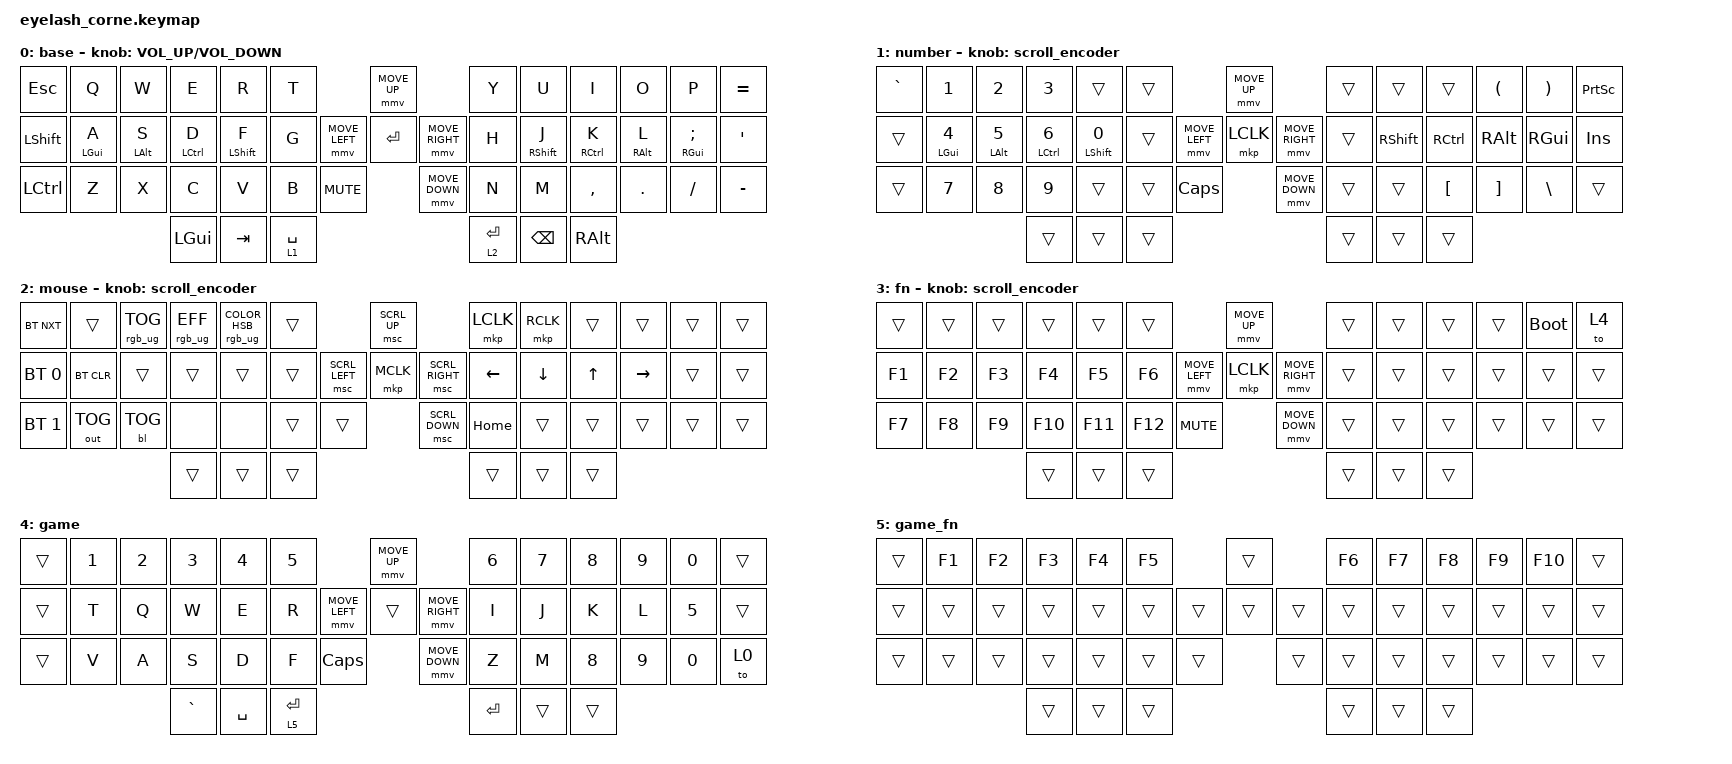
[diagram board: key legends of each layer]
#define ZMK_POINTING_DEFAULT_MOVE_VAL 1200  // 600
#define ZMK_POINTING_DEFAULT_SCRL_VAL 25   // 10

#include <input/processors.dtsi>
#include <zephyr/dt-bindings/input/input-event-codes.h>
#include <behaviors.dtsi>
#include <dt-bindings/zmk/backlight.h>
#include <dt-bindings/zmk/bt.h>
#include <dt-bindings/zmk/keys.h>
#include <dt-bindings/zmk/outputs.h>
#include <dt-bindings/zmk/pointing.h>
#include <dt-bindings/zmk/rgb.h>

&mmv_input_listener { input-processors = <&zip_xy_scaler 2 1>; };

&msc_input_listener { input-processors = <&zip_scroll_scaler 2 1>; };

&msc {
    acceleration-exponent = <1>;      // 0
    time-to-max-speed-ms = <100>;       // 300
    delay-ms = <0>;                   // 0
};

&mmv {
    time-to-max-speed-ms = <500>;
    acceleration-exponent = <1>;
    trigger-period-ms = <16>;
};

&mt {
    tapping-term-ms = <280>;
    require-prior-idle-ms = <175>;
    quick-tap-ms = <175>;
    flavor = "balanced";
    hold-trigger-key-positions = <14 15 16 17 26 25 24 23>;
    hold-trigger-on-release;
};

/ {
    behaviors {
        td0: td0 {
            compatible = "zmk,behavior-tap-dance";
            display-name = "Shift/Caps Lock Tap Dance";
            #binding-cells = <0>;
            bindings = <&kp LEFT_SHIFT>, <&kp CAPS>;
        };
    };

    rgb_encoder: rgb_encoder {
        compatible = "zmk,behavior-sensor-rotate";
        #sensor-binding-cells = <0>;
        bindings = <&rgb_ug RGB_BRI>, <&rgb_ug RGB_BRD>;
    };

    scroll_encoder: scroll_encoder {
        compatible = "zmk,behavior-sensor-rotate";
        #sensor-binding-cells = <0>;
        bindings = <&msc SCRL_DOWN>, <&msc SCRL_UP>;

        tap-ms = <100>;
    };

    combos {
        compatible = "zmk,combos";

        double {
            bindings = <&mo 3>;
            key-positions = <44 45>;
            timeout-ms = <200>;
        };
    };

    keymap {
        compatible = "zmk,keymap";

        base {
            display-name = "base";
            bindings = <
&kp ESCAPE      &kp Q           &kp W           &kp E               &kp R             &kp T                                      &mmv MOVE_UP                     &kp Y        &kp U              &kp I                &kp O            &kp P               &kp EQUAL
&kp LEFT_SHIFT  &mt LEFT_GUI A  &mt LEFT_ALT S  &mt LEFT_CONTROL D  &mt LEFT_SHIFT F  &kp G                      &mmv MOVE_LEFT  &kp ENTER       &mmv MOVE_RIGHT  &kp H        &mt RIGHT_SHIFT J  &mt RIGHT_CONTROL K  &mt RIGHT_ALT L  &mt RIGHT_GUI SEMI  &kp SQT
&kp LCTRL       &kp Z           &kp X           &kp C               &kp V             &kp B        &kp K_MUTE                    &mmv MOVE_DOWN                   &kp N        &kp M              &kp COMMA            &kp DOT          &kp FSLH            &kp MINUS
                                                &kp LGUI            &kp TAB           &lt 1 SPACE                                                                 &lt 2 ENTER  &kp BACKSPACE      &kp RALT
            >;

            sensor-bindings = <&inc_dec_kp C_VOLUME_UP C_VOLUME_DOWN>;
        };

        number {
            display-name = "number";
            bindings = <
&kp GRAVE  &kp NUMBER_1           &kp NUMBER_2           &kp NUMBER_3               &trans                   &trans                                  &mmv MOVE_UP                     &trans  &trans           &trans            &kp LEFT_PARENTHESIS  &kp RIGHT_PARENTHESIS  &kp PRINTSCREEN
&trans     &mt LEFT_GUI NUMBER_4  &mt LEFT_ALT NUMBER_5  &mt LEFT_CONTROL NUMBER_6  &mt LEFT_SHIFT NUMBER_0  &trans                  &mmv MOVE_LEFT  &mkp LCLK       &mmv MOVE_RIGHT  &trans  &kp RIGHT_SHIFT  &kp RCTRL         &kp RIGHT_ALT         &kp RIGHT_GUI          &kp INSERT
&trans     &kp N7                 &kp NUMBER_8           &kp NUMBER_9               &trans                   &trans  &kp CAPSLOCK                    &mmv MOVE_DOWN                   &trans  &trans           &kp LEFT_BRACKET  &kp RIGHT_BRACKET     &kp BACKSLASH          &trans
                                                         &trans                     &trans                   &trans                                                                   &trans  &trans           &trans
            >;

            sensor-bindings = <&scroll_encoder>;
        };

        mouse {
            display-name = "mouse";
            bindings = <
&bt BT_NXT    &trans        &rgb_ug RGB_TOG  &rgb_ug RGB_EFF  &rgb_ug RGB_COLOR_HSB(123,40,47)  &trans                            &msc SCRL_UP                     &mkp LCLK  &mkp RCLK  &trans        &trans     &trans  &trans
&bt BT_SEL 0  &bt BT_CLR    &trans           &trans           &trans                            &trans            &msc SCRL_LEFT  &mkp MCLK       &msc SCRL_RIGHT  &kp LEFT   &kp DOWN   &kp UP_ARROW  &kp RIGHT  &trans  &trans
&bt BT_SEL 1  &out OUT_TOG  &bl BL_TOG       &none            &none                             &trans  &trans                    &msc SCRL_DOWN                   &kp HOME   &trans     &trans        &trans     &trans  &trans
                                             &trans           &trans                            &trans                                                             &trans     &trans     &trans
            >;

            sensor-bindings = <&scroll_encoder>;
        };

        fn {
            display-name = "fn";
            bindings = <
&trans  &trans  &trans  &trans   &trans   &trans                                 &mmv MOVE_UP                     &trans  &trans  &trans  &trans  &bootloader  &to 4
&kp F1  &kp F2  &kp F3  &kp F4   &kp F5   &kp F6                 &mmv MOVE_LEFT  &mkp LCLK       &mmv MOVE_RIGHT  &trans  &trans  &trans  &trans  &trans       &trans
&kp F7  &kp F8  &kp F9  &kp F10  &kp F11  &kp F12  &kp C_MUTE                    &mmv MOVE_DOWN                   &trans  &trans  &trans  &trans  &trans       &trans
                        &trans   &trans   &trans                                                                  &trans  &trans  &trans
            >;

            sensor-bindings = <&scroll_encoder>;
        };

        game {
            bindings = <
&trans  &kp NUMBER_1  &kp NUMBER_2  &kp NUMBER_3  &kp NUMBER_4  &kp NUMBER_5                                  &mmv MOVE_UP                     &kp NUMBER_6  &kp NUMBER_7  &kp NUMBER_8  &kp NUMBER_9  &kp NUMBER_0  &trans
&trans  &kp T         &kp Q         &kp W         &kp E         &kp R                         &mmv MOVE_LEFT  &trans          &mmv MOVE_RIGHT  &kp I         &kp J         &kp K         &kp L         &kp N5        &trans
&trans  &kp V         &kp A         &kp S         &kp D         &kp F         &kp CAPSLOCK                    &mmv MOVE_DOWN                   &kp Z         &kp M         &kp N8        &kp N9        &kp N0        &to 0
                                    &kp GRAVE     &kp SPACE     &lt 5 ENTER                                                                    &kp ENTER     &trans        &trans
            >;
        };

        game_fn {
            bindings = <
&trans  &kp F1  &kp F2  &kp F3  &kp F4  &kp F5                    &trans          &kp F6  &kp F7  &kp F8  &kp F9  &kp F10  &trans
&trans  &trans  &trans  &trans  &trans  &trans            &trans  &trans  &trans  &trans  &trans  &trans  &trans  &trans   &trans
&trans  &trans  &trans  &trans  &trans  &trans  &trans            &trans          &trans  &trans  &trans  &trans  &trans   &trans
                        &trans  &trans  &trans                                    &trans  &trans  &trans
            >;
        };
    };

    conditional_layers { compatible = "zmk,conditional-layers"; };
};
